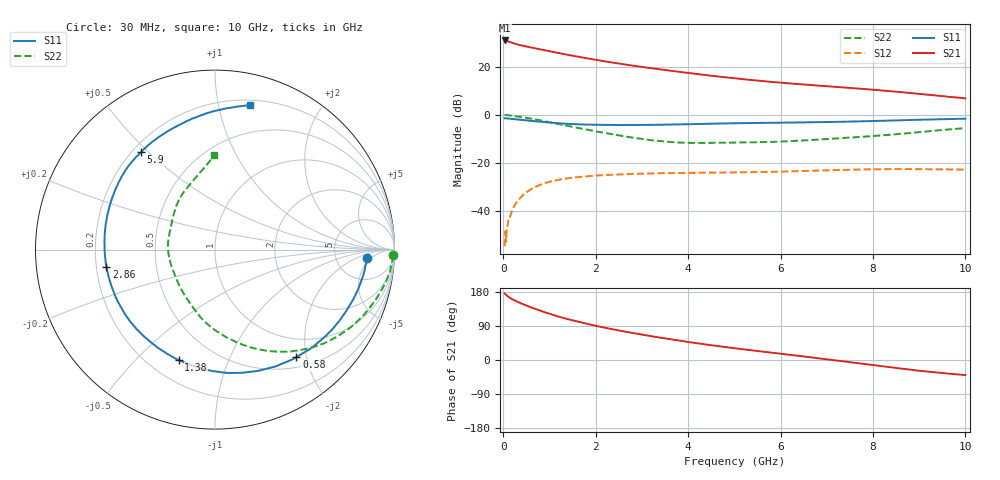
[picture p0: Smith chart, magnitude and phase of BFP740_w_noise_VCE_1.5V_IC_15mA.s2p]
! Infineon Technologies  Discrete & RF Semiconductors
! BFP740
! VCE =  1.5 V,  IC =  15 mA
! Common Emitter S-Parameters:  Jan 2016
# GHz  S  MA  R  50
!  f  S11  S21  S12  S22
! GHz  MAG  ANG  MAG  ANG  MAG  ANG  MAG  ANG
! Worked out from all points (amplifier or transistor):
!   229 points, 30 MHz to 10 GHz, reference 50 ohm
!   highest |S21| = 31.1 dB at 30 MHz (marker M1)
!   |S21| within 3 dB of that: start of sweep to 619 MHz
!   unconditionally stable (mu >= 1): 6.399 GHz to end of sweep
!   at 280 MHz: K = 0.19, MSG = 33.2 dB, |S12| = -36.8 dB
!   at 1.78 GHz: K = 0.40, MSG = 24.7 dB, |S12| = -25.7 dB
!   at 10 GHz: K = 1.07, MAG = 13.2 dB, |S12| = -22.9 dB
!   lowest NFmin = 0.59 dB at 450 MHz
!   S11 on the Smith chart (normalised r, x): 30 MHz: 11, -4; 580 MHz: 0.66, -1.82; 1.38 GHz: 0.32, -0.67; 2.86 GHz: 0.24, -0.07; 5.9 GHz: 0.23, +0.47; 10 GHz: 0.24, +1.24
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0.03  0.8462 -3.1  35.74 175.8  0.0018 94.8  0.9909 -1.9
0.05  0.8461 -5.2  35.73 173.6  0.0037 100.8  0.9896 -3.5
0.08  0.8402 -8.5  34.96 169.9  0.0041 70.6  0.9842 -5.7
0.11  0.8345 -11.6  34.21 166.9  0.0059 87.4  0.98 -8.0
0.15  0.8278 -15.5  33.03 163.5  0.0075 84.9  0.9688 -10.7
0.22  0.8133 -22.0  31.29 158.6  0.0114 77.6  0.9489 -14.9
0.4  0.7827 -37.9  28.04 148.7  0.0198 70.0  0.8967 -25.2
0.58  0.7513 -52.9  25.75 140.0  0.027 62.6  0.8407 -34.5
0.72  0.7292 -64.0  24.18 133.6  0.0319 57.3  0.7947 -41.5
0.9  0.7029 -77.6  22.37 125.9  0.0374 50.7  0.7334 -49.8
1.1  0.6767 -91.3  20.41 118.0  0.042 44.7  0.6685 -58.3
1.38  0.6478 -108.2  18.03 108.4  0.047 37.8  0.589 -68.8
1.7  0.6278 -125.1  15.81 98.6  0.051 31.7  0.5116 -79.4
2.22  0.6147 -148.2  12.97 84.6  0.0551 23.3  0.4151 -96.2
2.86  0.6125 -171.1  10.46 70.1  0.0584 16.2  0.3267 -116.0
3.4  0.6198 172.6  8.872 58.9  0.0601 11.6  0.2818 -135.0
4.2  0.6417 153.0  7.092 44.1  0.0614 5.9  0.2589 -163.5
5.1  0.6678 137.2  5.663 29.6  0.0628 1.5  0.2643 172.4
5.9  0.6818 127.2  4.778 18.1  0.0645 -1.0  0.2731 155.7
6.8  0.7016 116.3  4.081 5.1  0.0682 -5.2  0.3024 139.5
8.4  0.7598 93.8  3.102 -19.5  0.0733 -15.4  0.3847 112.2
10  0.8292 76.3  2.205 -39.8  0.0716 -23.7  0.5273 90.5
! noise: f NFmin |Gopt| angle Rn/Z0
0.45  0.59  0.08  4  0.17
0.9  0.6  0.07  10  0.17
1.5  0.62  0.07  23  0.16
1.9  0.64  0.07  39  0.16
2.4  0.67  0.07  47  0.15
3.5  0.78  0.06  54  0.14
5.5  0.94  0.15  229  0.13
10  1.33  0.49  -69  0.17
